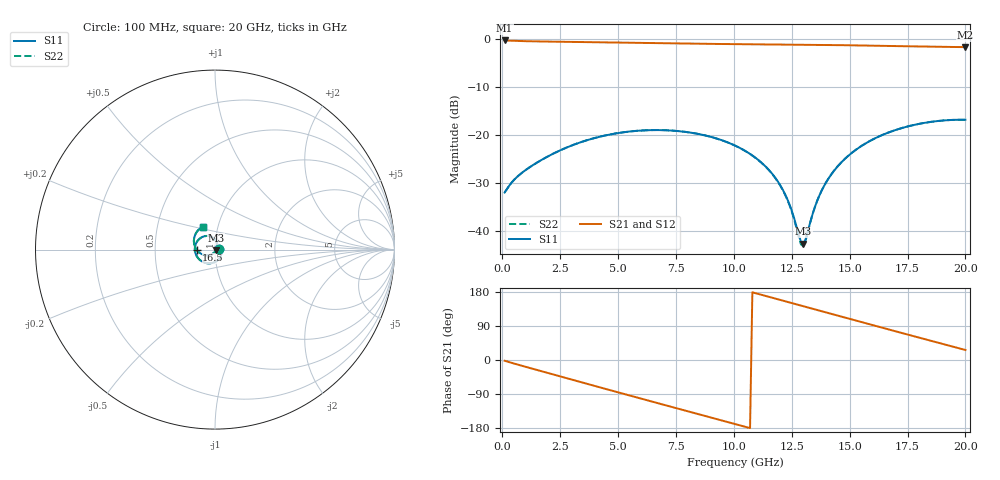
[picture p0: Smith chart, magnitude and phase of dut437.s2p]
! Touchstone file exported from HFSS 2026.1.0
!  File:  C:/ffzhzh/LocalFiles/Ansys_Project_Files/temp_train_TSV_RDL_437_1783098081_50312.aedt
!  Generated:  01:09:46 AM Jul  4, 2026
!  Design:  TSV_RDL
!  Project:  temp_train_TSV_RDL_437_1783098081_50312
! Variables:
!  h_bsmrdl = 5.94um
!  h_ox = 20um
!  h_rdl = 5um
!  h_sub = 89.59um
!  h_tmrdl = 2.51um
!  h_tsv = 89.59um
!  h_via = 3um
!  l_bsmrdl = 305.51um
!  l_sub = 5142.64um
!  l_tmrdl = 924.66um
!  m_sub = 200um
!  pitch = 29.19um
!  r_tsv = 13.17um
!  s_tmrdl = 10um
!  w_bsmrdl = 16.87um
!  w_sub = 500um
!  w_tmrdl = 25.62um
!  x_tsv_center1 = 937.47um
!  x_tsv_center2 = 1259.85um
!  x_tsv_center3 = 2210.13um
!  x_tsv_center4 = 2532.51um
!  x_tsv_center5 = 3482.79um
!  x_tsv_center6 = 3805.17um
# GHz S MA R 50.000000
! Terminal data exported
! Port[1] = TM_RDL1_1_T1
! Port[2] = TM_RDL5_1_T1
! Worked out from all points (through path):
!   200 points, 100 MHz to 20 GHz, reference 50 ohm
!   highest |S21| = -0.22 dB at 100 MHz (marker M1); lowest = -1.6 dB at 20 GHz (marker M2)
!   group delay of S21, straight-line fit = 46.2 ps
!   lowest |S11| = -42.8 dB at 13 GHz (marker M3), VSWR 1.01, Z = 50.6 - j0.425 ohm
!   |S11| at or under -10 dB: start of sweep to end of sweep
!   |S22| runs from -43.3 to -16.8 dB; largest |S21 - S12| = 5e-14
!   S11 on the Smith chart (normalised r, x): 100 MHz: 1.05, +0.00; 16.5 GHz: 0.81, -0.00; 20 GHz: 0.85, +0.22
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0.1  0.02497 2.4  0.9751 -2.0  0.9751 -2.0  0.02497 2.4
! Gamma 0 0 0 0
! Port Impedance 50 0 50 0
0.6  0.03569 -15.0  0.9641 -11.0  0.9641 -11.0  0.0357 -15.0
1.3  0.04796 -48.0  0.9548 -22.9  0.9548 -22.9  0.04799 -48.0
2.5  0.069 -90.3  0.945 -43.3  0.945 -43.3  0.06908 -90.2
3.5  0.0857 -117.2  0.9372 -60.2  0.9372 -60.2  0.08581 -117.0
5.1  0.1055 -153.5  0.924 -87.0  0.924 -87.0  0.1057 -153.2
6.8  0.1124 171.9  0.9107 -115.3  0.9107 -115.3  0.1125 172.3
8.5  0.102 138.8  0.9 -143.4  0.9 -143.4  0.1021 139.3
10.1  0.07647 107.6  0.8928 -169.8  0.8928 -169.8  0.07637 108.3
11.1  0.05368 86.8  0.8889 173.6  0.8889 173.6  0.05351 87.7
11.9  0.03262 67.1  0.8858 160.3  0.8858 160.3  0.03236 68.2
12.4  0.01883 48.1  0.8837 152.0  0.8837 152.0  0.0185 49.6
12.9  0.007621 -10.1  0.8813 143.7  0.8813 143.7  0.007146 -10.1
13  0.007262 -35.4  0.8808 142.0  0.8808 142.0  0.006856 -37.0
13.4  0.01483 -98.4  0.8787 135.3  0.8787 135.3  0.01482 -99.7
13.9  0.02933 -122.4  0.8757 127.0  0.8757 127.0  0.02945 -122.8
14.5  0.04738 -138.7  0.8718 116.9  0.8718 116.9  0.04754 -138.8
15.4  0.07356 -158.1  0.865 101.9  0.865 101.9  0.07373 -157.9
16.5  0.102 -179.4  0.8559 83.7  0.8559 83.7  0.1021 -179.0
16.7  0.1065 176.9  0.8542 80.4  0.8542 80.4  0.1067 177.3
18.2  0.1334 149.8  0.8418 55.8  0.8418 55.8  0.1334 150.2
20  0.1443 118.4  0.8304 26.4  0.8304 26.4  0.1441 118.8
